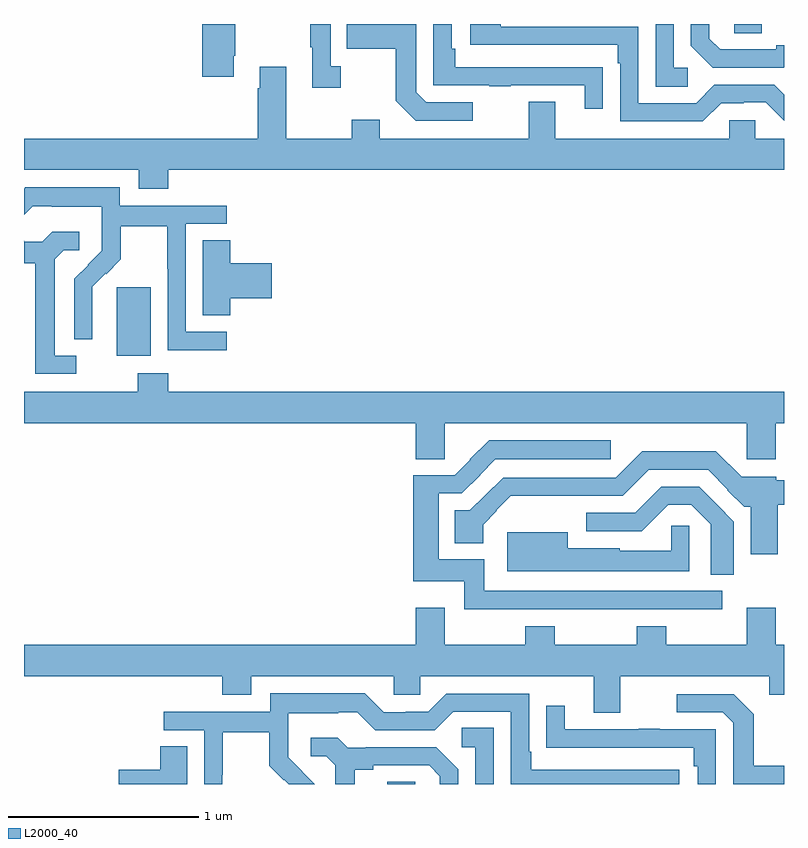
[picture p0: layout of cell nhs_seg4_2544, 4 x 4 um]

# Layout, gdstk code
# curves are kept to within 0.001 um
import gdstk
lib = gdstk.Library(unit=1e-6, precision=1e-09)
def R(c, l, rs):  # rectangles x0, y0, x1, y1
    for r in rs: c.add(gdstk.rectangle(r[:2], r[2:], *l))
def P(c, l, *ps):  # polygons
    for p in ps: c.add(gdstk.Polygon(p, *l))
L2000_40 = (2000, 40)

nhs_seg4_2544 = lib.new_cell('nhs_seg4_2544')
R(nhs_seg4_2544, L2000_40, [(244.913,814.9,245.058,814.913), (243.488,817.154,243.667,817.515), (246.738,818.851,246.883,818.9)])
P(nhs_seg4_2544, L2000_40, [(246.998,818.673),(247,818.673),(247,818.789),(246.959,818.789),(246.959,818.766),(246.664,818.766),(246.607,818.823),(246.607,818.9),(246.51,818.9),(246.51,818.786),(246.626,818.67),(246.998,818.67)],
  [(244.666,818.678),(244.614,818.678),(244.614,818.9),(244.506,818.9),(244.506,818.777),(244.517,818.777),(244.517,818.565),(244.666,818.565)],
  [(246.493,818.67),(246.42,818.67),(246.42,818.9),(246.324,818.9),(246.324,818.569),(246.493,818.569)],
  [(246.047,818.672),(245.945,818.672),(245.945,818.673),(245.27,818.673),(245.27,818.77),(245.25,818.77),(245.25,818.9),(245.154,818.9),(245.154,818.577),(245.449,818.577),(245.449,818.572),(245.561,818.572),(245.561,818.577),(245.951,818.577),(245.951,818.454),(246.047,818.454)],
  [(245.362,818.487),(245.118,818.487),(245.064,818.541),(245.064,818.9),(244.699,818.9),(244.699,818.77),(244.956,818.77),(244.956,818.497),(245.061,818.391),(245.362,818.391)],
  [(244.105,818.734),(244.113,818.734),(244.113,818.9),(243.938,818.9),(243.938,818.622),(244.105,818.622)],
  [(246.669,818.484),(246.788,818.484),(246.788,818.487),(246.903,818.487),(247,818.39),(247,818.528),(246.948,818.58),(246.633,818.58),(246.537,818.484),(246.234,818.484),(246.234,818.886),(245.51,818.886),(245.51,818.9),(245.349,818.9),(245.349,818.79),(246.125,818.79),(246.125,818.693),(246.138,818.693),(246.138,818.388),(246.573,818.388)],
  [(243.758,818.132),(247,818.132),(247,818.296),(246.849,818.296),(246.849,818.394),(246.711,818.394),(246.711,818.296),(245.797,818.296),(245.797,818.491),(245.657,818.491),(245.657,818.296),(244.873,818.296),(244.873,818.395),(244.726,818.395),(244.726,818.296),(244.381,818.296),(244.381,818.674),(244.241,818.674),(244.241,818.561),(244.229,818.561),(244.229,818.296),(243,818.296),(243,818.132),(243.605,818.132),(243.605,818.033),(243.758,818.033)],
  [(244.066,817.281),(243.852,817.281),(243.852,817.848),(244.066,817.848),(244.066,817.944),(243.504,817.944),(243.504,818.041),(243.007,818.041),(243,818.034),(243,817.896),(243.045,817.941),(243.145,817.941),(243.145,817.937),(243.408,817.937),(243.408,817.803),(243.41,817.803),(243.41,817.706),(243.264,817.558),(243.264,817.24),(243.36,817.24),(243.359,817.517),(243.429,817.587),(243.432,817.584),(243.509,817.661),(243.509,817.836),(243.754,817.836),(243.754,817.612),(243.756,817.612),(243.756,817.183),(244.066,817.183)],
  [(243.274,817.155),(243.163,817.155),(243.163,817.663),(243.21,817.71),(243.292,817.71),(243.292,817.807),(243.148,817.807),(243.096,817.755),(243.002,817.755),(243.002,817.758),(243,817.758),(243,817.64),(243.059,817.64),(243.059,817.059),(243.274,817.059)],
  [(244.085,817.457),(244.303,817.457),(244.303,817.64),(244.085,817.64),(244.085,817.763),(243.941,817.763),(243.941,817.366),(244.085,817.366)],
  [(246.956,816.8),(247,816.8),(247,816.964),(243.758,816.964),(243.758,817.063),(243.598,817.063),(243.598,816.964),(243,816.964),(243,816.8),(245.063,816.8),(245.063,816.61),(245.214,816.61),(245.214,816.8),(246.805,816.8),(246.805,816.609),(246.956,816.609)],
  [(245.549,815.82),(246.676,815.82),(246.676,815.916),(245.422,815.916),(245.422,816.082),(245.182,816.082),(245.182,816.429),(245.305,816.429),(245.402,816.526),(245.4,816.528),(245.481,816.609),(246.088,816.609),(246.088,816.709),(245.448,816.709),(245.347,816.608),(245.349,816.606),(245.268,816.525),(245.048,816.525),(245.048,815.966),(245.318,815.966),(245.318,815.819)],
  [(246.966,816.37),(247,816.37),(247,816.499),(246.958,816.499),(246.958,816.516),(246.777,816.516),(246.641,816.652),(246.253,816.652),(246.114,816.513),(245.522,816.513),(245.347,816.34),(245.267,816.34),(245.267,816.168),(245.416,816.168),(245.416,816.265),(245.489,816.338),(245.486,816.341),(245.561,816.416),(246.15,816.417),(246.288,816.555),(246.6,816.555),(246.705,816.45),(246.702,816.447),(246.79,816.36),(246.824,816.36),(246.824,816.108),(246.966,816.108)],
  [(246.736,816.281),(246.553,816.465),(246.354,816.465),(246.216,816.327),(245.958,816.327),(245.958,816.231),(246.252,816.231),(246.39,816.369),(246.513,816.369),(246.615,816.268),(246.615,816.001),(246.736,816.001)],
  [(246.5,816.259),(246.406,816.259),(246.406,816.127),(246.135,816.127),(246.135,816.142),(245.863,816.142),(245.863,816.226),(245.544,816.226),(245.544,816.02),(246.5,816.02)],
  [(246.139,815.468),(246.923,815.468),(246.923,815.369),(247,815.369),(247,815.632),(246.956,815.632),(246.956,815.827),(246.803,815.827),(246.803,815.632),(246.381,815.632),(246.381,815.731),(246.226,815.731),(246.226,815.632),(245.793,815.632),(245.793,815.731),(245.638,815.731),(245.638,815.632),(245.215,815.632),(245.215,815.827),(245.063,815.827),(245.063,815.632),(243,815.632),(243,815.468),(244.043,815.468),(244.043,815.369),(244.195,815.369),(244.195,815.468),(244.947,815.468),(244.947,815.37),(245.085,815.37),(245.085,815.468),(245.999,815.468),(245.999,815.274),(246.139,815.274)],
  [(244.044,814.948),(244.047,814.948),(244.047,815.172),(244.291,815.172),(244.291,814.997),(244.368,814.92),(244.371,814.923),(244.394,814.9),(244.53,814.9),(244.39,815.042),(244.39,815.139),(244.392,815.139),(244.392,815.273),(244.655,815.273),(244.655,815.277),(244.755,815.277),(244.848,815.184),(245.163,815.184),(245.259,815.28),(245.562,815.28),(245.562,814.9),(246.448,814.9),(246.448,814.974),(245.671,814.974),(245.671,815.071),(245.658,815.071),(245.658,815.376),(245.223,815.376),(245.127,815.28),(245.009,815.28),(245.009,815.277),(244.893,815.277),(244.793,815.377),(244.296,815.377),(244.296,815.28),(243.735,815.28),(243.735,815.184),(243.948,815.184),(243.948,814.9),(244.044,814.9)],
  [(247,814.995),(246.841,814.995),(246.841,815.267),(246.735,815.373),(246.435,815.373),(246.435,815.277),(246.678,815.277),(246.732,815.223),(246.732,814.9),(247,814.9)],
  [(246.642,815.187),(246.347,815.187),(246.347,815.192),(246.235,815.192),(246.235,815.187),(245.845,815.187),(245.845,815.311),(245.749,815.311),(245.749,815.092),(245.851,815.092),(245.851,815.091),(246.526,815.091),(246.526,814.994),(246.546,814.994),(246.546,814.9),(246.642,814.9)],
  [(245.472,815.195),(245.304,815.195),(245.304,815.094),(245.376,815.094),(245.376,814.9),(245.472,814.9)],
  [(244.741,814.976),(244.837,814.976),(244.837,814.998),(245.132,814.998),(245.189,814.941),(245.189,814.9),(245.286,814.9),(245.286,814.978),(245.17,815.094),(244.798,815.094),(244.798,815.091),(244.704,815.091),(244.652,815.143),(244.509,815.143),(244.509,815.046),(244.59,815.046),(244.637,814.999),(244.637,814.9),(244.741,814.9)],
  [(243.859,815.099),(243.716,815.099),(243.716,814.976),(243.498,814.976),(243.498,814.9),(243.859,814.9)])

lib.write_gds('nhs_seg4_2544.gds')
